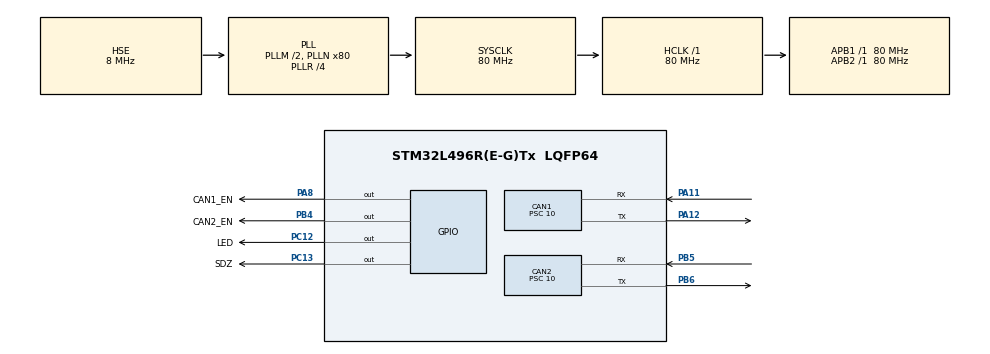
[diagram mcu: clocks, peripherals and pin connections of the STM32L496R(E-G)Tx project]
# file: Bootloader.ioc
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CAN1.BS1=CAN_BS1_13TQ
CAN1.BS2=CAN_BS2_2TQ
CAN1.CalculateTimeQuantum=125.0
CAN1.Prescaler=10
CAN1.TXFP=ENABLE
CAN2.BS1=CAN_BS1_13TQ
CAN2.BS2=CAN_BS2_2TQ
CAN2.CalculateTimeQuantum=125.0
CAN2.Prescaler=10
CAN2.TXFP=ENABLE
Mcu.Family=STM32L4
Mcu.Name=STM32L496R(E-G)Tx
Mcu.Package=LQFP64
NVIC.CAN1_RX0_IRQn=true\:0\:0\:false\:false\:true\:true\:true
NVIC.CAN2_RX0_IRQn=true\:0\:0\:false\:false\:true\:true\:true
NVIC.PriorityGroup=NVIC_PRIORITYGROUP_4
PA11.Mode=Master
PA11.Signal=CAN1_RX
PA12.Mode=Master
PA12.Signal=CAN1_TX
PA8.GPIO_Label=CAN1_EN
PA8.Signal=GPIO_Output
PB4\ (NJTRST).GPIO_Label=CAN2_EN
PB4\ (NJTRST).Signal=GPIO_Output
PB5.Mode=Slave
PB5.Signal=CAN2_RX
PB6.Mode=Slave
PB6.Signal=CAN2_TX
PC12.GPIO_Label=LED
PC12.Signal=GPIO_Output
PC13.GPIO_Label=SDZ
PC13.PinState=GPIO_PIN_SET
PC13.Signal=GPIO_Output
PH0-OSC_IN\ (PH0).Mode=HSE-External-Oscillator
PH0-OSC_IN\ (PH0).Signal=RCC_OSC_IN
PH1-OSC_OUT\ (PH1).Mode=HSE-External-Oscillator
PH1-OSC_OUT\ (PH1).Signal=RCC_OSC_OUT
ProjectManager.HeapSize=0x12000
ProjectManager.StackSize=0x4000
ProjectManager.TargetToolchain=TrueSTUDIO
RCC.ADCFreq_Value=21500000
RCC.AHBFreq_Value=80000000
RCC.APB1Freq_Value=80000000
RCC.APB1TimFreq_Value=80000000
RCC.APB2Freq_Value=80000000
RCC.APB2TimFreq_Value=80000000
RCC.CortexFreq_Value=80000000
RCC.HCLKFreq_Value=80000000
RCC.HSE_VALUE=8000000
RCC.HSI48_VALUE=48000000
RCC.HSI_VALUE=16000000
RCC.LSE_VALUE=32768
RCC.MSI_VALUE=4000000
RCC.PLLM=2
RCC.PLLN=80
RCC.PLLP=RCC_PLLP_DIV7
RCC.PLLR=RCC_PLLR_DIV4
RCC.PLLSAI1N=43
RCC.PLLSAI1P=RCC_PLLP_DIV7
RCC.PLLSAI1R=RCC_PLLR_DIV8
RCC.PLLSourceVirtual=RCC_PLLSOURCE_HSE
RCC.SYSCLKFreq_VALUE=80000000
RCC.SYSCLKSource=RCC_SYSCLKSOURCE_PLLCLK
RCC.USBFreq_Value=86000000
RCC.VCOOutputFreq_Value=320000000
TIM6.Period=10000
TIM6.TIM_MasterOutputTrigger=TIM_TRGO_UPDATE
VP_IWDG_VS_IWDG.Mode=IWDG_Activate
VP_TIM6_VS_ClockSourceINT.Mode=Enable_Timer
board=custom

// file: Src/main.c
/* USER CODE BEGIN Header */
/**
  ******************************************************************************
  * @file           : main.c
  * @brief          : Main program body
  ******************************************************************************
  * @attention
  *
  * <h2><center>&copy; Copyright (c) 2019 STMicroelectronics.
  * All rights reserved.</center></h2>
  *
  * This software component is licensed by ST under BSD 3-Clause license,
  * the "License"; You may not use this file except in compliance with the
  * License. You may obtain a copy of the License at:
  *                        opensource.org/licenses/BSD-3-Clause
  *
  ******************************************************************************
  */
/* USER CODE END Header */

#include "main.h"
#include "can.h"
#include "iwdg.h"
#include "tim.h"
#include "gpio.h"

/* USER CODE BEGIN Includes */

#include "can_tx_stack.h"
#include "can_cmd.h"
#include "crc.h"
#include "eeprom.h"
#include "flash_interface.h"

/* USER CODE END Includes */

/* USER CODE BEGIN PD */

#define FLASH_USER_START_ADDR   ADDR_FLASH_PAGE_256   /* Start @ of user Flash area */
#define FLASH_USER_END_ADDR     ADDR_FLASH_PAGE_511 + FLASH_PAGE_SIZE - 1   /* End @ of user Flash area */

/* USER CODE END PD */

/* USER CODE BEGIN PV */

typedef  void (*pFunction)(void);
pFunction Jump_To_Application;
uint32_t JumpAddress;

tx_stack can1_tx_stack;
tx_stack can2_tx_stack;
uint8_t group_id = 1;
uint8_t pos_in_group = 1;

static CAN_RxHeaderTypeDef   RxHeader;
static uint8_t               RxData[8];
static CAN_TxHeaderTypeDef   TxHeader;
static uint32_t              TxMailbox1=0;
static uint32_t              TxMailbox2=0;
static uint8_t               TxData[8];

extern uint8_t search_next_try;

struct {
	uint8_t id;
	uint8_t state;
	uint8_t data[8*7];
	uint8_t length;
	uint8_t cnt;
	uint8_t addr1;
	uint8_t addr2;
	uint8_t addr3;
	uint8_t addr4;
}boot_packet;

uint32_t FirstPage = 0, NbOfPages = 0, BankNumber = 0;
uint32_t Address = 0, PAGEError = 0;
__IO uint32_t data32 = 0 , MemoryProgramStatus = 0;

__IO uint16_t real_crc;
__IO uint16_t wr_crc;
__IO uint32_t pr_length;

uint8_t led_cnt = 0;

/*Variable used for Erase procedure*/
static FLASH_EraseInitTypeDef EraseInitStruct;

/* USER CODE END PV */

void SystemClock_Config(void);

/* USER CODE BEGIN 0 */

static uint32_t getProjectLength() {
	uint32_t res = *(__IO uint8_t *)(FLASH_USER_START_ADDR+4);
	res <<= 8;res |=  *(__IO uint8_t *)(FLASH_USER_START_ADDR+5);
	res <<= 8;res |=  *(__IO uint8_t *)(FLASH_USER_START_ADDR+6);
	res <<= 8;res |=  *(__IO uint8_t *)(FLASH_USER_START_ADDR+7);
	uint32_t max_value = FLASH_USER_END_ADDR - FLASH_USER_START_ADDR-FLASH_PAGE_SIZE;
	if(res>max_value) res=max_value;
	return res;
}

static uint16_t getWrittenCRC() {
	uint16_t res = *(__IO uint8_t *)(FLASH_USER_START_ADDR+1);
	res <<= 8;res |=  *(__IO uint8_t *)(FLASH_USER_START_ADDR+0);
	return res;
}

static uint16_t getRealCRC() {
	uint16_t res = GetCRC16((uint8_t *)(FLASH_USER_START_ADDR+FLASH_PAGE_SIZE),pr_length);
	return res;
}

uint64_t conv_doubleword(uint64_t inp) {
	uint64_t res = 0;
	res |= inp&0xFF;
	res = res << 8; res |= (inp>>8)&0xFF;
	res = res << 8; res |= (inp>>16)&0xFF;
	res = res << 8; res |= (inp>>24)&0xFF;
	res = res << 8; res |= (inp>>32)&0xFF;
	res = res << 8; res |= (inp>>40)&0xFF;
	res = res << 8; res |= (inp>>48)&0xFF;
	res = res << 8; res |= (inp>>56)&0xFF;
	return res;
}

static void initCANFilter() {
	CAN_FilterTypeDef  sFilterConfig;

	sFilterConfig.FilterBank = 0;
	sFilterConfig.FilterMode = CAN_FILTERMODE_IDMASK;
	sFilterConfig.FilterScale = CAN_FILTERSCALE_32BIT;
	sFilterConfig.FilterIdHigh = 0x0000;
	sFilterConfig.FilterIdLow = 0x0000;
	sFilterConfig.FilterMaskIdHigh = 0x0000;
	sFilterConfig.FilterMaskIdLow = 0x0000;
	sFilterConfig.FilterFIFOAssignment = CAN_RX_FIFO0;
	sFilterConfig.FilterActivation = ENABLE;
	sFilterConfig.SlaveStartFilterBank = 14;

	HAL_CAN_ConfigFilter(&hcan1, &sFilterConfig);

	sFilterConfig.FilterBank = 14;
	sFilterConfig.FilterMode = CAN_FILTERMODE_IDMASK;
	sFilterConfig.FilterScale = CAN_FILTERSCALE_32BIT;
	sFilterConfig.FilterIdHigh = 0x0000;
	sFilterConfig.FilterIdLow = 0x0000;
	sFilterConfig.FilterMaskIdHigh = 0x0000;
	sFilterConfig.FilterMaskIdLow = 0x0000;
	sFilterConfig.FilterFIFOAssignment = CAN_RX_FIFO0;
	sFilterConfig.FilterActivation = ENABLE;
	sFilterConfig.SlaveStartFilterBank = 14;
	HAL_CAN_ConfigFilter(&hcan2, &sFilterConfig);
}

static void check_can_rx(uint8_t can_num) {
	uint32_t addr = 0;
	uint8_t offset = 0;
	uint64_t data;
	CAN_HandleTypeDef *hcan;
	uint8_t i = 0;
	tx_stack_data packet;
	id_field *p_id;
	if(can_num==1) hcan = &hcan1; else hcan = &hcan2;
	if(HAL_CAN_GetRxFifoFillLevel(hcan, CAN_RX_FIFO0)) {
		if(HAL_CAN_GetRxMessage(hcan, CAN_RX_FIFO0, &RxHeader, RxData) == HAL_OK) {
			//HAL_GPIO_TogglePin(LED_GPIO_Port,LED_Pin);
			p_id = (id_field*)(&(RxHeader.ExtId));
			if(p_id->cmd==LAST_POINT) {
				if(p_id->group_addr == group_id) {
					search_next_try = 0;	// ответ от следующей в цепочке точки
				}
			}else if(p_id->cmd==FIND_NEXT_POINT) {
				if(p_id->param==FIND_REQUEST) {	// запрос от предыдущей в цепочке точки
					pos_in_group = RxData[0] + 1;
					next_point(FIND_ANSWER);	// отправить ответ
				}else if(p_id->param==FIND_ANSWER) {
					search_next_try = 0;	// ответ от следующей в цепочке точки
				}
			}else if(p_id->cmd==GET_POINTS_STATE) {
				group_id = p_id ->group_addr;
				send_point_state(1);
			}else if(p_id->cmd==GATE_STATE) {
				if(can_num==1) {
					group_id = p_id ->group_addr;
				}
			}
			if(p_id->point_addr == pos_in_group && p_id->group_addr == group_id && p_id->cmd==BOOT) {
				//HAL_GPIO_TogglePin(LED_GPIO_Port,LED_Pin);
				if(p_id->type==BOOT_WRITE_HEADER) {
					boot_packet.state = 0x00;
					boot_packet.length = RxData[0];
					boot_packet.id = RxData[1];
					boot_packet.addr1 = RxData[2];
					boot_packet.addr2 = RxData[3];
					boot_packet.addr3 = RxData[4];
					boot_packet.addr4 = RxData[5];
					boot_packet.cnt = 0;

				}else if(p_id->type==BOOT_WRITE_DATA) {

					if(RxData[0]==boot_packet.id) {

						if(p_id->param>=1 && p_id->param<=8) {
							boot_packet.state |= 1<<(p_id->param-1);
							for(i=0;i<7;i++) {
								boot_packet.data[(p_id->param-1)*7+i] = RxData[i+1];
								boot_packet.cnt++;
							}
							if(boot_packet.cnt>=boot_packet.length) {

								// send answer and write data to flash
								send_write_ack(boot_packet.id);
								addr = boot_packet.addr1;
								addr = (addr << 8) | boot_packet.addr2;
								addr = (addr << 8) | boot_packet.addr3;
								addr = (addr << 8) | boot_packet.addr4;
								addr += FLASH_USER_START_ADDR;
								offset=0;
								while(offset<boot_packet.length && offset<56) {
									data = boot_packet.data[offset++];
									data=data<<8;if(offset<56) data|=boot_packet.data[offset++];
									data=data<<8;if(offset<56) data|=boot_packet.data[offset++];
									data=data<<8;if(offset<56) data|=boot_packet.data[offset++];
									data=data<<8;if(offset<56) data|=boot_packet.data[offset++];
									data=data<<8;if(offset<56) data|=boot_packet.data[offset++];
									data=data<<8;if(offset<56) data|=boot_packet.data[offset++];
									data=data<<8;if(offset<56) data|=boot_packet.data[offset++];

									data = conv_doubleword(data);
									HAL_FLASH_Program(FLASH_TYPEPROGRAM_DOUBLEWORD, addr, data);
									addr+=8;
								}
							}
						}
					}
				}else if(p_id->type==BOOT_ERASE_PAGE_REQ) {
					HAL_IWDG_Refresh(&hiwdg);
					addr = FLASH_USER_START_ADDR + FLASH_PAGE_SIZE*(p_id->param);
					EraseInitStruct.TypeErase   = FLASH_TYPEERASE_PAGES;
					EraseInitStruct.Banks       = GetBank(addr);
					EraseInitStruct.Page        = GetPage(addr);
					EraseInitStruct.NbPages     = 1;
					if(HAL_FLASHEx_Erase(&EraseInitStruct, &PAGEError)==HAL_OK) {
						send_erase_ack(p_id->param);
					}

				}else if(p_id->type==BOOT_PROG_FINISHED) {
					write_var(0);
					HAL_NVIC_SystemReset();
				}
			}

			if(p_id->group_addr == group_id) {
				if(p_id->cmd==FIND_NEXT_POINT) return;
			}

			if(!(p_id->point_addr == pos_in_group && p_id->group_addr == group_id)) {
				packet.id = RxHeader.ExtId;
				packet.length = RxHeader.DLC;
				for(i=0;i<packet.length;++i) packet.data[i] = RxData[i];
				if(can_num==1)	{
					add_tx_can_packet(&can2_tx_stack,&packet);
				}
				else {
					add_tx_can_packet(&can1_tx_stack,&packet);
				}
			}
		}
	}
}

void can_write_from_stack() {
	tx_stack_data packet;
	uint8_t i = 0;
	while(HAL_CAN_GetTxMailboxesFreeLevel(&hcan1)!=0) {
		if(get_tx_can_packet(&can1_tx_stack,&packet)) {
			TxHeader.StdId = 0;
			TxHeader.ExtId = packet.id;
			TxHeader.RTR = CAN_RTR_DATA;
			TxHeader.IDE = CAN_ID_EXT;
			TxHeader.TransmitGlobalTime = DISABLE;
			TxHeader.DLC = packet.length;
			for(i=0;i<packet.length;++i) TxData[i] = packet.data[i];
			HAL_CAN_AddTxMessage(&hcan1, &TxHeader, TxData, &TxMailbox1);
		}else break;
	}
	while(HAL_CAN_GetTxMailboxesFreeLevel(&hcan2)!=0) {
		if(get_tx_can_packet(&can2_tx_stack,&packet)) {
			TxHeader.IDE = CAN_ID_EXT;
			TxHeader.StdId = 0;
			TxHeader.ExtId = packet.id;
			TxHeader.RTR = CAN_RTR_DATA;
			TxHeader.IDE = CAN_ID_EXT;
			TxHeader.TransmitGlobalTime = DISABLE;
			TxHeader.DLC = packet.length;
			for(i=0;i<packet.length;++i) TxData[i] = packet.data[i];
			HAL_CAN_AddTxMessage(&hcan2, &TxHeader, TxData, &TxMailbox2);
		}else break;
	}
}

/* USER CODE END 0 */

int main(void)
{

  /* MCU Configuration--------------------------------------------------------*/

  /* Reset of all peripherals, Initializes the Flash interface and the Systick. */
  HAL_Init();

  /* Configure the system clock */
  SystemClock_Config();

  /* USER CODE BEGIN SysInit */

  HAL_Delay(400);
  HAL_FLASH_Unlock();

    /* Clear OPTVERR bit set on virgin samples */
  __HAL_FLASH_CLEAR_FLAG(FLASH_FLAG_OPTVERR);

  init_eeprom();
  pr_length = getProjectLength();
  real_crc = getRealCRC();
  wr_crc = getWrittenCRC();
  if(real_crc==wr_crc) {
	  uint64_t v = read_var();
	  if(v<5) {
		  write_var(++v);
		  HAL_Delay(100);
		  JumpAddress = *(__IO uint32_t*) (FLASH_USER_START_ADDR + FLASH_PAGE_SIZE + 4);
		  Jump_To_Application = (pFunction) JumpAddress;
		  __set_MSP(*(__IO uint32_t*) FLASH_USER_START_ADDR + FLASH_PAGE_SIZE);
		  Jump_To_Application();
	  }

  }

  /* USER CODE END SysInit */

  /* Initialize all configured peripherals */
  MX_GPIO_Init();
  MX_TIM6_Init();
  MX_CAN1_Init();
  MX_CAN2_Init();
  MX_IWDG_Init();

  /* Infinite loop */
  /* USER CODE BEGIN WHILE */

  HAL_GPIO_WritePin(SDZ_GPIO_Port,SDZ_Pin,GPIO_PIN_RESET);

  /* Get the 1st page to erase */
  FirstPage = GetPage(FLASH_USER_START_ADDR);
  /* Get the number of pages to erase from 1st page */
  NbOfPages = GetPage(FLASH_USER_END_ADDR) - FirstPage + 1;
  /* Get the bank */
  BankNumber = GetBank(FLASH_USER_START_ADDR);
  /* Fill EraseInit structure*/
  EraseInitStruct.TypeErase   = FLASH_TYPEERASE_PAGES;
  EraseInitStruct.Banks       = BankNumber;
  EraseInitStruct.Page        = FirstPage;
  EraseInitStruct.NbPages     = NbOfPages;

/* Note: If an erase operation in Flash memory also concerns data in the data or instruction cache,
   you have to make sure that these data are rewritten before they are accessed during code
   execution. If this cannot be done safely, it is recommended to flush the caches by setting the
   DCRST and ICRST bits in the FLASH_CR register. */
  //if (HAL_FLASHEx_Erase(&EraseInitStruct, &PAGEError) != HAL_OK) {

  //}

  initCANFilter();
  HAL_CAN_Start(&hcan1);
  HAL_CAN_Start(&hcan2);
  if (HAL_CAN_ActivateNotification(&hcan1, CAN_IT_RX_FIFO0_MSG_PENDING) != HAL_OK) {Error_Handler();}
  if (HAL_CAN_ActivateNotification(&hcan2, CAN_IT_RX_FIFO0_MSG_PENDING) != HAL_OK) {Error_Handler();}

  init_can_tx_stack(&can1_tx_stack);
  init_can_tx_stack(&can2_tx_stack);

  send_point_state(1);

  while (1)
  {
	  HAL_Delay(100);
	  HAL_IWDG_Refresh(&hiwdg);
	  if(led_cnt==0) HAL_GPIO_WritePin(LED_GPIO_Port,LED_Pin,GPIO_PIN_SET);
	  else if(led_cnt==1) HAL_GPIO_WritePin(LED_GPIO_Port,LED_Pin,GPIO_PIN_RESET);
	  led_cnt++;if(led_cnt>=3) led_cnt=0;
	  //HAL_GPIO_TogglePin(LED_GPIO_Port,LED_Pin);
    /* USER CODE END WHILE */

  }
}

void SystemClock_Config(void)
{
  RCC_OscInitTypeDef RCC_OscInitStruct = {0};
  RCC_ClkInitTypeDef RCC_ClkInitStruct = {0};

  /** Initializes the CPU, AHB and APB busses clocks
  */
  RCC_OscInitStruct.OscillatorType = RCC_OSCILLATORTYPE_LSI|RCC_OSCILLATORTYPE_HSE;
  RCC_OscInitStruct.HSEState = RCC_HSE_ON;
  RCC_OscInitStruct.LSIState = RCC_LSI_ON;
  RCC_OscInitStruct.PLL.PLLState = RCC_PLL_ON;
  RCC_OscInitStruct.PLL.PLLSource = RCC_PLLSOURCE_HSE;
  RCC_OscInitStruct.PLL.PLLM = 2;
  RCC_OscInitStruct.PLL.PLLN = 80;
  RCC_OscInitStruct.PLL.PLLP = RCC_PLLP_DIV7;
  RCC_OscInitStruct.PLL.PLLQ = RCC_PLLQ_DIV2;
  RCC_OscInitStruct.PLL.PLLR = RCC_PLLR_DIV4;
  if (HAL_RCC_OscConfig(&RCC_OscInitStruct) != HAL_OK)
  {
    Error_Handler();
  }
  /** Initializes the CPU, AHB and APB busses clocks
  */
  RCC_ClkInitStruct.ClockType = RCC_CLOCKTYPE_HCLK|RCC_CLOCKTYPE_SYSCLK
                              |RCC_CLOCKTYPE_PCLK1|RCC_CLOCKTYPE_PCLK2;
  RCC_ClkInitStruct.SYSCLKSource = RCC_SYSCLKSOURCE_PLLCLK;
  RCC_ClkInitStruct.AHBCLKDivider = RCC_SYSCLK_DIV1;
  RCC_ClkInitStruct.APB1CLKDivider = RCC_HCLK_DIV1;
  RCC_ClkInitStruct.APB2CLKDivider = RCC_HCLK_DIV1;

  if (HAL_RCC_ClockConfig(&RCC_ClkInitStruct, FLASH_LATENCY_4) != HAL_OK)
  {
    Error_Handler();
  }
  /** Configure the main internal regulator output voltage
  */
  if (HAL_PWREx_ControlVoltageScaling(PWR_REGULATOR_VOLTAGE_SCALE1) != HAL_OK)
  {
    Error_Handler();
  }
}

/* USER CODE BEGIN 4 */

void HAL_CAN_RxFifo0MsgPendingCallback(CAN_HandleTypeDef *hcan)
{
	check_can_rx(1);
	check_can_rx(2);
}

/* USER CODE END 4 */

void Error_Handler(void)
{
}

/************************ (C) COPYRIGHT STMicroelectronics *****END OF FILE****/
